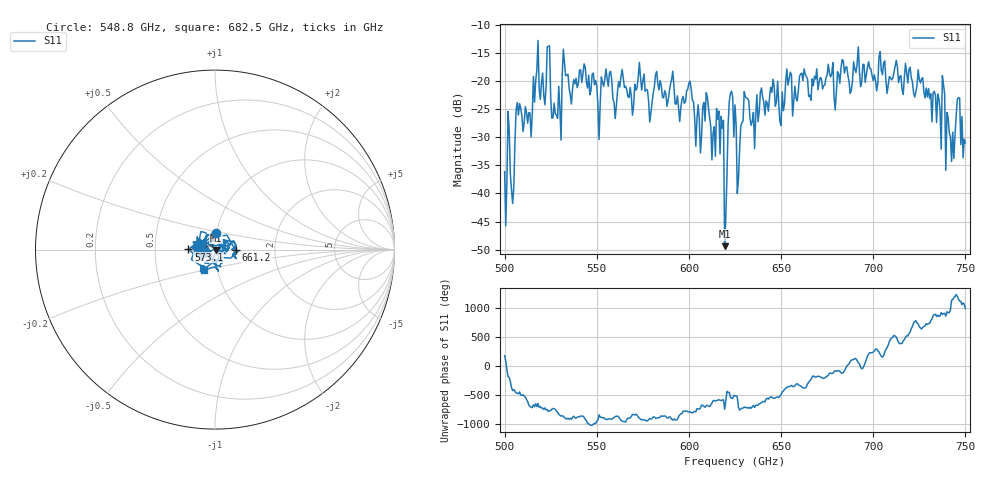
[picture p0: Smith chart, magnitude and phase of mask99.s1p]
!Created with skrf (http://scikit-rf.org).
# GHz S MA R 50.0
!freq magS11 angS11
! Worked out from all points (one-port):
!   401 points, 500 GHz to 750 GHz, reference 50 ohm
!   lowest |S11| = -49.4 dB at 619.4 GHz (marker M1), VSWR 1.01, Z = 50.3 - j0.151 ohm
!   |S11| at or under -10 dB: start of sweep to end of sweep
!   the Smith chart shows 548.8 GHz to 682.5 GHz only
!   S11 on the Smith chart (normalised r, x): 548.8 GHz: 0.99, +0.19; 573.1 GHz: 0.74, +0.00; 661.2 GHz: 1.27, +0.00; 682.5 GHz: 0.86, -0.20
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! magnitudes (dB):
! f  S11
! 500 GHz  -36.1
! 504.4 GHz  -41.8
! 507.5 GHz  -26.0
! 513.8 GHz  -25.6
! 516.9 GHz  -19.8
! 523.8 GHz  -13.7
! 526.9 GHz  -23.9
! 531.2 GHz  -18.9
! 548.8 GHz  -20.6
! 562.5 GHz  -21.0
! 573.1 GHz  -16.6
! 593.8 GHz  -22.6
! 616.2 GHz  -25.3
! 619.4 GHz  -49.4
! 622.5 GHz  -22.2
! 625 GHz  -24.2
! 627.5 GHz  -32.2
! 631.2 GHz  -23.0
! 634.4 GHz  -27.1
! 656.2 GHz  -26.2
! 661.2 GHz  -18.5
! 682.5 GHz  -17.6
! 687.5 GHz  -22.1
! 718.8 GHz  -20.3
! 737.5 GHz  -19.0
! 742.5 GHz  -34.3
! 746.9 GHz  -23.0
! 750 GHz  -31.0
